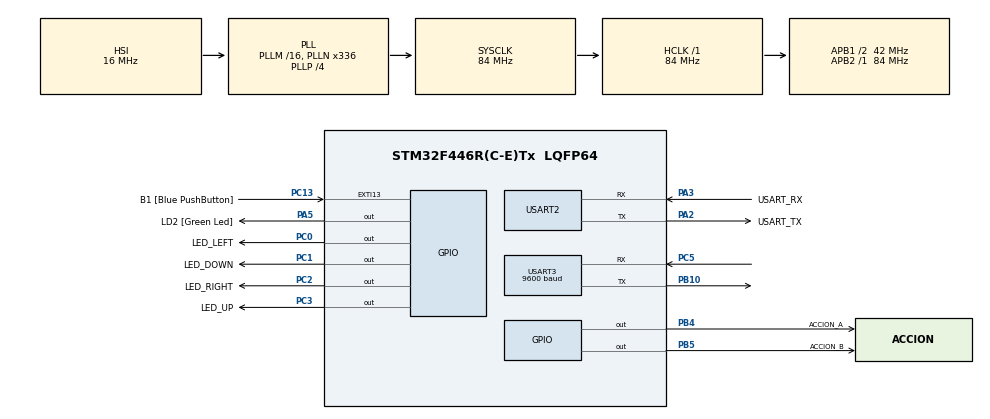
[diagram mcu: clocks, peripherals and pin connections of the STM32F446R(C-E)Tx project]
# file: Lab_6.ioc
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Mcu.Family=STM32F4
Mcu.Name=STM32F446R(C-E)Tx
Mcu.Package=LQFP64
NVIC.PriorityGroup=NVIC_PRIORITYGROUP_0
NVIC.USART3_IRQn=true\:0\:0\:false\:false\:true\:true\:true\:true
PA13.GPIO_Label=TMS
PA13.Mode=Serial_Wire
PA13.Signal=SYS_JTMS-SWDIO
PA14.GPIO_Label=TCK
PA14.Mode=Serial_Wire
PA14.Signal=SYS_JTCK-SWCLK
PA2.GPIO_Label=USART_TX
PA2.Mode=Asynchronous
PA2.Signal=USART2_TX
PA3.GPIO_Label=USART_RX
PA3.Mode=Asynchronous
PA3.Signal=USART2_RX
PA5.GPIO_Label=LD2 [Green Led]
PA5.Signal=GPIO_Output
PB10.GPIO_Speed=GPIO_SPEED_FREQ_HIGH
PB10.Mode=Asynchronous
PB10.Signal=USART3_TX
PB3.GPIO_Label=SWO
PB3.Signal=SYS_JTDO-SWO
PB4.GPIO_Label=ACCION_A
PB4.Signal=GPIO_Output
PB5.GPIO_Label=ACCION_B
PB5.Signal=GPIO_Output
PC0.GPIO_Label=LED_LEFT
PC0.Signal=GPIO_Output
PC1.GPIO_Label=LED_DOWN
PC1.Signal=GPIO_Output
PC13.GPIO_Label=B1 [Blue PushButton]
PC13.GPIO_ModeDefaultEXTI=GPIO_MODE_IT_FALLING
PC13.Signal=GPXTI13
PC14-OSC32_IN.Mode=LSE-External-Oscillator
PC14-OSC32_IN.Signal=RCC_OSC32_IN
PC15-OSC32_OUT.Mode=LSE-External-Oscillator
PC15-OSC32_OUT.Signal=RCC_OSC32_OUT
PC2.GPIO_Label=LED_RIGHT
PC2.Signal=GPIO_Output
PC3.GPIO_Label=LED_UP
PC3.Signal=GPIO_Output
PC5.GPIO_Speed=GPIO_SPEED_FREQ_HIGH
PC5.Mode=Asynchronous
PC5.Signal=USART3_RX
PH0-OSC_IN.Mode=HSE-External-Oscillator
PH0-OSC_IN.Signal=RCC_OSC_IN
PH1-OSC_OUT.Mode=HSE-External-Oscillator
PH1-OSC_OUT.Signal=RCC_OSC_OUT
ProjectManager.HeapSize=0x200
ProjectManager.StackSize=0x400
ProjectManager.TargetToolchain=STM32CubeIDE
RCC.48MHZClocksFreq_Value=84000000
RCC.AHBFreq_Value=84000000
RCC.APB1CLKDivider=RCC_HCLK_DIV2
RCC.APB1Freq_Value=42000000
RCC.APB1TimFreq_Value=84000000
RCC.APB2Freq_Value=84000000
RCC.APB2TimFreq_Value=84000000
RCC.CortexFreq_Value=84000000
RCC.FLatency-AdvancedSettings=FLASH_LATENCY_2
RCC.HCLKFreq_Value=84000000
RCC.HSE_VALUE=8000000
RCC.HSI_VALUE=16000000
RCC.PLLN=336
RCC.PLLP=RCC_PLLP_DIV4
RCC.SYSCLKFreq_VALUE=84000000
RCC.SYSCLKSource=RCC_SYSCLKSOURCE_PLLCLK
RCC.USBFreq_Value=168000000
RCC.VCOOutputFreq_Value=336000000
USART2.VirtualMode=VM_ASYNC
USART3.BaudRate=9600
USART3.VirtualMode=VM_ASYNC
board=NUCLEO-F446RE

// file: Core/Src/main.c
/* USER CODE BEGIN Header */
/**
  ******************************************************************************
  * @file           : main.c
  * @brief          : Main program body
  ******************************************************************************
  * @attention
  *
  * Copyright (c) 2025 STMicroelectronics.
  * All rights reserved.
  *
  * This software is licensed under terms that can be found in the LICENSE file
  * in the root directory of this software component.
  * If no LICENSE file comes with this software, it is provided AS-IS.
  *
  ******************************************************************************
  */
/* USER CODE END Header */
#include "main.h"

/* USER CODE BEGIN Includes */
#include <string.h>
/* USER CODE END Includes */

/* USER CODE BEGIN PM */
#define DEBUG_TX2_STR(s) HAL_UART_Transmit(&huart2, (uint8_t*)(s), (uint16_t)strlen(s), HAL_MAX_DELAY)
/* USER CODE END PM */

UART_HandleTypeDef huart2;
UART_HandleTypeDef huart3;

/* USER CODE BEGIN PV */
static uint8_t rx3_byte;   // búfer de 1 byte para recepción por IT
/* USER CODE END PV */

void SystemClock_Config(void);
static void MX_GPIO_Init(void);
static void MX_USART2_UART_Init(void);
static void MX_USART3_UART_Init(void);
/* USER CODE BEGIN PFP */
static void ProcessCommand(uint8_t c);
/* USER CODE END PFP */

/* USER CODE BEGIN 0 */

/* ==== Helpers para LEDs direccionales en GPIOC (PC0..PC3) ==== */
static inline void DirLED_AllOff(void)
{
  HAL_GPIO_WritePin(GPIOC, LED_LEFT_Pin|LED_DOWN_Pin|LED_RIGHT_Pin|LED_UP_Pin, GPIO_PIN_RESET);
}

static inline void DirLED_On(uint16_t pin_on /* de los LED_*_Pin en GPIOC */)
{
  DirLED_AllOff();
  HAL_GPIO_WritePin(GPIOC, pin_on, GPIO_PIN_SET);
}

/* ==== Helpers para LEDs de ACCIÓN (puerto según *_GPIO_Port) ==== */
static inline void ActionLEDs_AllOff(void)
{
  HAL_GPIO_WritePin(ACCION_A_GPIO_Port, ACCION_A_Pin, GPIO_PIN_RESET);
  HAL_GPIO_WritePin(ACCION_B_GPIO_Port, ACCION_B_Pin, GPIO_PIN_RESET);
}

static inline void ActionLED_On(GPIO_TypeDef* port, uint16_t pin)
{
  ActionLEDs_AllOff();
  HAL_GPIO_WritePin(port, pin, GPIO_PIN_SET);
}

/* Se llama cuando llega 1 byte por USART en modo IT */
void HAL_UART_RxCpltCallback(UART_HandleTypeDef *huart)
{
  if (huart == &huart3)
  {
    ProcessCommand(rx3_byte);

    // Re-armar recepción de 1 byte (MUY IMPORTANTE)
    HAL_UART_Receive_IT(&huart3, &rx3_byte, 1);
  }
}

void HAL_UART_ErrorCallback(UART_HandleTypeDef *huart)
{
  if (huart == &huart3)
  {
    DEBUG_TX2_STR("[USART3] Error UART\r\n");
    // Reintentar recepción
    HAL_UART_Receive_IT(&huart3, &rx3_byte, 1);
  }
}

// Traduce comandos del ATmega
static void ProcessCommand(uint8_t c)
{
  switch (c)
  {
    case 'U':
      DEBUG_TX2_STR("CMD: UP\r\n");
      DirLED_On(LED_UP_Pin);        // PC3
      break;

    case 'D':
      DEBUG_TX2_STR("CMD: DOWN\r\n");
      DirLED_On(LED_DOWN_Pin);      // PC1
      break;

    case 'L':
      DEBUG_TX2_STR("CMD: LEFT\r\n");
      DirLED_On(LED_LEFT_Pin);      // PC0
      break;

    case 'R':
      DEBUG_TX2_STR("CMD: RIGHT\r\n");
      DirLED_On(LED_RIGHT_Pin);     // PC2
      break;

    case 'A':
      DEBUG_TX2_STR("CMD: ACTION A\r\n");
      ActionLED_On(ACCION_A_GPIO_Port, ACCION_A_Pin); // enciende A, apaga B
      break;

    case 'B':
      DEBUG_TX2_STR("CMD: ACTION B\r\n");
      ActionLED_On(ACCION_B_GPIO_Port, ACCION_B_Pin); // enciende B, apaga A
      break;

    case 'H':
      DEBUG_TX2_STR("PULSA UN BOTON\r\n");
      DirLED_AllOff();              // apaga direccionales
      ActionLEDs_AllOff();          // apaga acciones
      break;

    case '\r':
    case '\n': /* ignorar */
      break;

    default:
      DEBUG_TX2_STR("RX: ");
      HAL_UART_Transmit(&huart2, &c, 1, HAL_MAX_DELAY);
      DEBUG_TX2_STR("\r\n");
      break;
  }
}
/* USER CODE END 0 */

int main(void)
{

  /* MCU Configuration--------------------------------------------------------*/

  /* Reset of all peripherals, Initializes the Flash interface and the Systick. */
  HAL_Init();

  /* Configure the system clock */
  SystemClock_Config();

  /* Initialize all configured peripherals */
  MX_GPIO_Init();
  MX_USART2_UART_Init();
  MX_USART3_UART_Init();
  /* USER CODE BEGIN 2 */
  // Mensajes por el VCP (USART2 @115200)
  DEBUG_TX2_STR("\r\n=== Nucleo-F446RE: USART3 RX @9600 ===\r\n");
  DEBUG_TX2_STR("Pins: PB10=USART3_TX, PC5=USART3_RX (AF7)\r\n");

  // Armar recepción por interrupción de 1 byte
  HAL_UART_Receive_IT(&huart3, &rx3_byte, 1);
  /* USER CODE END 2 */

  /* Infinite loop */
  while (1)
  {

    /* USER CODE BEGIN 3 */
    // Loop principal no bloqueante
  }
  /* USER CODE END 3 */
}

void SystemClock_Config(void)
{
  RCC_OscInitTypeDef RCC_OscInitStruct = {0};
  RCC_ClkInitTypeDef RCC_ClkInitStruct = {0};

  /** Configure the main internal regulator output voltage
  */
  __HAL_RCC_PWR_CLK_ENABLE();
  __HAL_PWR_VOLTAGESCALING_CONFIG(PWR_REGULATOR_VOLTAGE_SCALE3);

  /** Initializes the RCC Oscillators according to the specified parameters
  * in the RCC_OscInitTypeDef structure.
  */
  RCC_OscInitStruct.OscillatorType = RCC_OSCILLATORTYPE_HSI;
  RCC_OscInitStruct.HSIState = RCC_HSI_ON;
  RCC_OscInitStruct.HSICalibrationValue = RCC_HSICALIBRATION_DEFAULT;
  RCC_OscInitStruct.PLL.PLLState = RCC_PLL_ON;
  RCC_OscInitStruct.PLL.PLLSource = RCC_PLLSOURCE_HSI;
  RCC_OscInitStruct.PLL.PLLM = 16;
  RCC_OscInitStruct.PLL.PLLN = 336;
  RCC_OscInitStruct.PLL.PLLP = RCC_PLLP_DIV4;
  RCC_OscInitStruct.PLL.PLLQ = 2;
  RCC_OscInitStruct.PLL.PLLR = 2;
  if (HAL_RCC_OscConfig(&RCC_OscInitStruct) != HAL_OK)
  {
    Error_Handler();
  }

  /** Initializes the CPU, AHB and APB buses clocks
  */
  RCC_ClkInitStruct.ClockType = RCC_CLOCKTYPE_HCLK|RCC_CLOCKTYPE_SYSCLK
                              |RCC_CLOCKTYPE_PCLK1|RCC_CLOCKTYPE_PCLK2;
  RCC_ClkInitStruct.SYSCLKSource = RCC_SYSCLKSOURCE_PLLCLK;
  RCC_ClkInitStruct.AHBCLKDivider = RCC_SYSCLK_DIV1;
  RCC_ClkInitStruct.APB1CLKDivider = RCC_HCLK_DIV2;
  RCC_ClkInitStruct.APB2CLKDivider = RCC_HCLK_DIV1;

  if (HAL_RCC_ClockConfig(&RCC_ClkInitStruct, FLASH_LATENCY_2) != HAL_OK)
  {
    Error_Handler();
  }
}

static void MX_USART2_UART_Init(void)
{

  huart2.Instance = USART2;
  huart2.Init.BaudRate = 115200;
  huart2.Init.WordLength = UART_WORDLENGTH_8B;
  huart2.Init.StopBits = UART_STOPBITS_1;
  huart2.Init.Parity = UART_PARITY_NONE;
  huart2.Init.Mode = UART_MODE_TX_RX;
  huart2.Init.HwFlowCtl = UART_HWCONTROL_NONE;
  huart2.Init.OverSampling = UART_OVERSAMPLING_16;
  if (HAL_UART_Init(&huart2) != HAL_OK)
  {
    Error_Handler();
  }

}

static void MX_USART3_UART_Init(void)
{

  huart3.Instance = USART3;
  huart3.Init.BaudRate = 9600;
  huart3.Init.WordLength = UART_WORDLENGTH_8B;
  huart3.Init.StopBits = UART_STOPBITS_1;
  huart3.Init.Parity = UART_PARITY_NONE;
  huart3.Init.Mode = UART_MODE_TX_RX;
  huart3.Init.HwFlowCtl = UART_HWCONTROL_NONE;
  huart3.Init.OverSampling = UART_OVERSAMPLING_16;
  if (HAL_UART_Init(&huart3) != HAL_OK)
  {
    Error_Handler();
  }

}

static void MX_GPIO_Init(void)
{
  GPIO_InitTypeDef GPIO_InitStruct = {0};

  /* GPIO Ports Clock Enable */
  __HAL_RCC_GPIOC_CLK_ENABLE();
  __HAL_RCC_GPIOH_CLK_ENABLE();
  __HAL_RCC_GPIOA_CLK_ENABLE();
  __HAL_RCC_GPIOB_CLK_ENABLE();

  /*Configure GPIO pin Output Level */
  HAL_GPIO_WritePin(GPIOC, LED_LEFT_Pin|LED_DOWN_Pin|LED_RIGHT_Pin|LED_UP_Pin, GPIO_PIN_RESET);

  /*Configure GPIO pin Output Level */
  HAL_GPIO_WritePin(LD2_GPIO_Port, LD2_Pin, GPIO_PIN_RESET);

  /*Configure GPIO pin Output Level */
  HAL_GPIO_WritePin(GPIOB, ACCION_A_Pin|ACCION_B_Pin, GPIO_PIN_RESET);

  /*Configure GPIO pin : B1_Pin */
  GPIO_InitStruct.Pin = B1_Pin;
  GPIO_InitStruct.Mode = GPIO_MODE_IT_FALLING;
  GPIO_InitStruct.Pull = GPIO_NOPULL;
  HAL_GPIO_Init(B1_GPIO_Port, &GPIO_InitStruct);

  /*Configure GPIO pins : LED_LEFT_Pin LED_DOWN_Pin LED_RIGHT_Pin LED_UP_Pin */
  GPIO_InitStruct.Pin = LED_LEFT_Pin|LED_DOWN_Pin|LED_RIGHT_Pin|LED_UP_Pin;
  GPIO_InitStruct.Mode = GPIO_MODE_OUTPUT_PP;
  GPIO_InitStruct.Pull = GPIO_NOPULL;
  GPIO_InitStruct.Speed = GPIO_SPEED_FREQ_LOW;
  HAL_GPIO_Init(GPIOC, &GPIO_InitStruct);

  /*Configure GPIO pin : LD2_Pin */
  GPIO_InitStruct.Pin = LD2_Pin;
  GPIO_InitStruct.Mode = GPIO_MODE_OUTPUT_PP;
  GPIO_InitStruct.Pull = GPIO_NOPULL;
  GPIO_InitStruct.Speed = GPIO_SPEED_FREQ_LOW;
  HAL_GPIO_Init(LD2_GPIO_Port, &GPIO_InitStruct);

  /*Configure GPIO pins : ACCION_A_Pin ACCION_B_Pin */
  GPIO_InitStruct.Pin = ACCION_A_Pin|ACCION_B_Pin;
  GPIO_InitStruct.Mode = GPIO_MODE_OUTPUT_PP;
  GPIO_InitStruct.Pull = GPIO_NOPULL;
  GPIO_InitStruct.Speed = GPIO_SPEED_FREQ_LOW;
  HAL_GPIO_Init(ACCION_A_GPIO_Port, &GPIO_InitStruct); // A
  HAL_GPIO_Init(ACCION_B_GPIO_Port, &GPIO_InitStruct); // B

}

void Error_Handler(void)
{
  __disable_irq();
  while (1)
  {
  }
}
